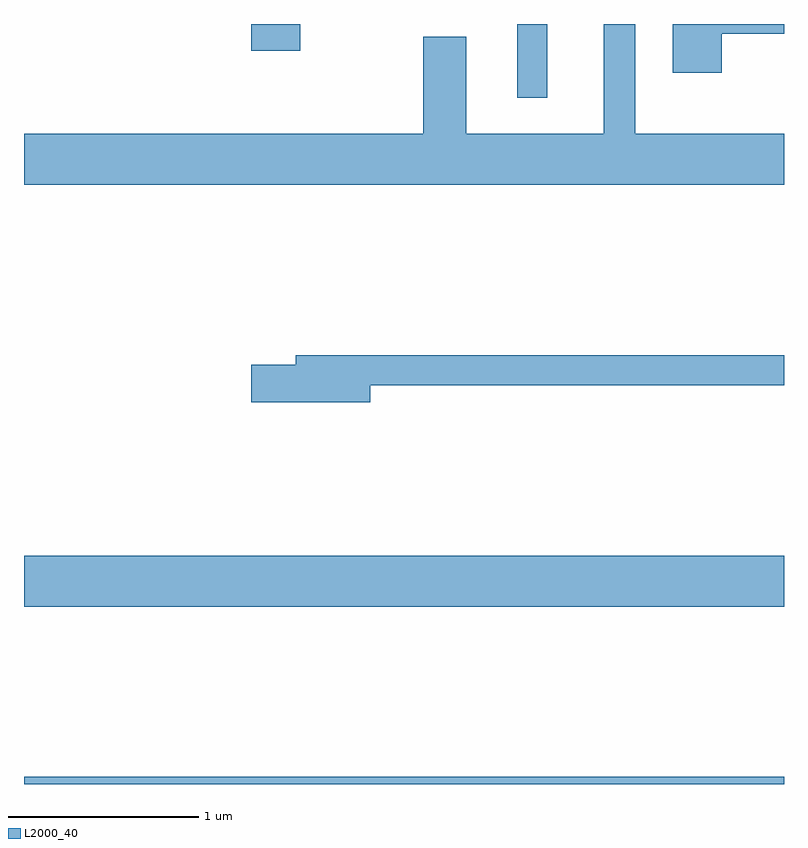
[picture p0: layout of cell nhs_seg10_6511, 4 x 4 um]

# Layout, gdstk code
import gdstk
lib = gdstk.Library(unit=1e-6, precision=1e-09)
def R(c, l, rs):  # rectangles x0, y0, x1, y1
    for r in rs: c.add(gdstk.rectangle(r[:2], r[2:], *l))
def P(c, l, *ps):  # polygons
    for p in ps: c.add(gdstk.Polygon(p, *l))
L2000_40 = (2000, 40)

nhs_seg10_6511 = lib.new_cell('nhs_seg10_6511')
R(nhs_seg10_6511, L2000_40, [(377.611,2128.522,381.611,2128.559), (377.611,2129.456,381.611,2129.724), (380.206,2132.133,380.364,2132.522), (378.806,2132.381,379.064,2132.522)])
P(nhs_seg10_6511, L2000_40, [(381.611,2131.944),(380.829,2131.944),(380.829,2132.522),(380.661,2132.522),(380.661,2131.944),(379.939,2131.944),(379.939,2132.454),(379.711,2132.454),(379.711,2131.944),(377.611,2131.944),(377.611,2131.676),(381.611,2131.676)],
  [(381.284,2132.471),(381.611,2132.471),(381.611,2132.522),(381.026,2132.522),(381.026,2132.266),(381.284,2132.266)],
  [(379.434,2130.621),(381.611,2130.621),(381.611,2130.779),(379.041,2130.779),(379.041,2130.729),(378.806,2130.729),(378.806,2130.531),(379.434,2130.531)])

lib.write_gds('nhs_seg10_6511.gds')
